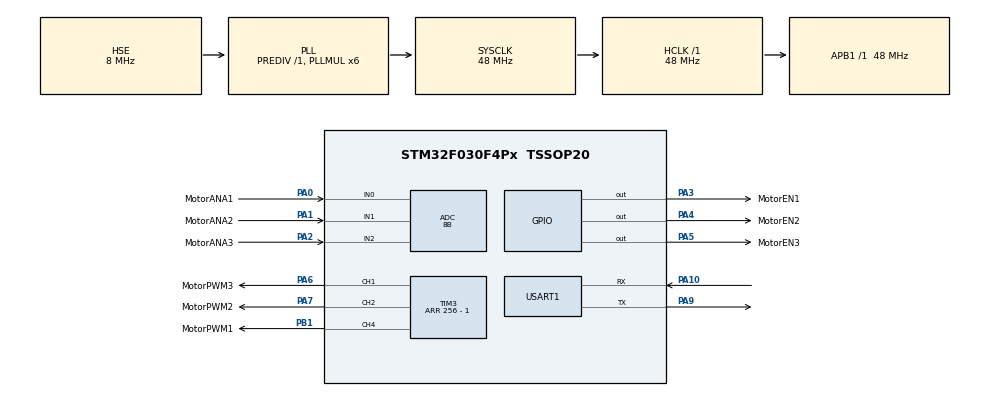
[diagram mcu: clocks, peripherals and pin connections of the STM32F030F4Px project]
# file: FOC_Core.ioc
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ADC.ContinuousConvMode=ENABLE
ADC.DMAContinuousRequests=ENABLE
ADC.EOCSelection=ADC_EOC_SINGLE_CONV
ADC.Overrun=ADC_OVR_DATA_PRESERVED
ADC.Resolution=ADC_RESOLUTION_8B
ADC.ScanConvMode=ADC_SCAN_DIRECTION_FORWARD
Dma.ADC.0.Direction=DMA_PERIPH_TO_MEMORY
Dma.ADC.0.Instance=DMA1_Channel1
Dma.ADC.0.MemDataAlignment=DMA_MDATAALIGN_BYTE
Dma.ADC.0.MemInc=DMA_MINC_ENABLE
Dma.ADC.0.Mode=DMA_CIRCULAR
Dma.ADC.0.PeriphDataAlignment=DMA_PDATAALIGN_BYTE
Dma.ADC.0.PeriphInc=DMA_PINC_DISABLE
Dma.ADC.0.Priority=DMA_PRIORITY_MEDIUM
Dma.Request0=ADC
Dma.Request1=USART1_TX
Dma.USART1_TX.1.Direction=DMA_MEMORY_TO_PERIPH
Dma.USART1_TX.1.Instance=DMA1_Channel2
Dma.USART1_TX.1.MemDataAlignment=DMA_MDATAALIGN_BYTE
Dma.USART1_TX.1.MemInc=DMA_MINC_ENABLE
Dma.USART1_TX.1.Mode=DMA_NORMAL
Dma.USART1_TX.1.PeriphDataAlignment=DMA_PDATAALIGN_BYTE
Dma.USART1_TX.1.PeriphInc=DMA_PINC_DISABLE
Dma.USART1_TX.1.Priority=DMA_PRIORITY_LOW
Mcu.Family=STM32F0
Mcu.Name=STM32F030F4Px
Mcu.Package=TSSOP20
NVIC.DMA1_Channel1_IRQn=true\:0\:0\:false\:false\:true\:false\:true
NVIC.DMA1_Channel2_3_IRQn=true\:0\:0\:false\:false\:true\:false\:true
NVIC.TIM14_IRQn=true\:0\:0\:false\:false\:true\:true\:true
PA0.GPIO_Label=MotorANA1
PA0.Mode=IN0
PA0.Signal=ADC_IN0
PA1.GPIO_Label=MotorANA2
PA1.Mode=IN1
PA1.Signal=ADC_IN1
PA10.Mode=Asynchronous
PA10.Signal=USART1_RX
PA13.Mode=Serial_Wire
PA13.Signal=SYS_SWDIO
PA14.Mode=Serial_Wire
PA14.Signal=SYS_SWCLK
PA2.GPIO_Label=MotorANA3
PA2.Mode=IN2
PA2.Signal=ADC_IN2
PA3.GPIO_Label=MotorEN1
PA3.GPIO_Speed=GPIO_SPEED_FREQ_LOW
PA3.PinState=GPIO_PIN_RESET
PA3.Signal=GPIO_Output
PA4.GPIO_Label=MotorEN2
PA4.GPIO_Speed=GPIO_SPEED_FREQ_LOW
PA4.PinState=GPIO_PIN_RESET
PA4.Signal=GPIO_Output
PA5.GPIO_Label=MotorEN3
PA5.GPIO_Speed=GPIO_SPEED_FREQ_LOW
PA5.PinState=GPIO_PIN_RESET
PA5.Signal=GPIO_Output
PA6.GPIO_Label=MotorPWM3
PA6.GPIO_ModeDefaultPP=GPIO_MODE_AF_PP
PA6.GPIO_PuPd=GPIO_NOPULL
PA6.GPIO_Speed=GPIO_SPEED_FREQ_LOW
PA6.Signal=S_TIM3_CH1
PA7.GPIO_Label=MotorPWM2
PA7.GPIO_ModeDefaultPP=GPIO_MODE_AF_PP
PA7.GPIO_PuPd=GPIO_NOPULL
PA7.GPIO_Speed=GPIO_SPEED_FREQ_LOW
PA7.Signal=S_TIM3_CH2
PA9.Mode=Asynchronous
PA9.Signal=USART1_TX
PB1.GPIO_Label=MotorPWM1
PB1.GPIO_ModeDefaultPP=GPIO_MODE_AF_PP
PB1.GPIO_PuPd=GPIO_NOPULL
PB1.GPIO_Speed=GPIO_SPEED_FREQ_LOW
PB1.Signal=S_TIM3_CH4
PF0-OSC_IN.Mode=HSE-External-Oscillator
PF0-OSC_IN.Signal=RCC_OSC_IN
PF1-OSC_OUT.Mode=HSE-External-Oscillator
PF1-OSC_OUT.Signal=RCC_OSC_OUT
ProjectManager.HeapSize=0x200
ProjectManager.StackSize=0x200
ProjectManager.TargetToolchain=Makefile
RCC.AHBFreq_Value=48000000
RCC.APB1Freq_Value=48000000
RCC.APB1TimFreq_Value=48000000
RCC.HCLKFreq_Value=48000000
RCC.I2c1ClockSelection=RCC_I2C1CLKSOURCE_SYSCLK
RCC.PLLMUL=RCC_PLL_MUL6
RCC.PLLSourceVirtual=RCC_PLLSOURCE_HSE
RCC.SYSCLKFreq_VALUE=48000000
RCC.SYSCLKSource=RCC_SYSCLKSOURCE_PLLCLK
SH.S_TIM3_CH1.0=TIM3_CH1,PWM Generation1 CH1
SH.S_TIM3_CH2.0=TIM3_CH2,PWM Generation2 CH2
SH.S_TIM3_CH4.0=TIM3_CH4,PWM Generation4 CH4
TIM14.Period=2048 - 1
TIM3.Channel-PWM\ Generation1\ CH1=TIM_CHANNEL_1
TIM3.Channel-PWM\ Generation2\ CH2=TIM_CHANNEL_2
TIM3.Channel-PWM\ Generation4\ CH4=TIM_CHANNEL_4
TIM3.Period=256 - 1
TIM3.Pulse-PWM\ Generation1\ CH1=256 - 1
TIM3.Pulse-PWM\ Generation2\ CH2=256 - 1
TIM3.Pulse-PWM\ Generation4\ CH4=256 - 1
USART1.Parity=PARITY_EVEN
USART1.StopBits=STOPBITS_2
USART1.VirtualMode-Asynchronous=VM_ASYNC
USART1.WordLength=WORDLENGTH_9B
VP_TIM14_VS_ClockSourceINT.Mode=Enable_Timer
VP_TIM3_VS_ClockSourceINT.Mode=Internal
board=custom

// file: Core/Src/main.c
/* USER CODE BEGIN Header */
/**
  ******************************************************************************
  * @file           : main.c
  * @brief          : Main program body
  ******************************************************************************
  * @attention
  *
  * Copyright (c) 2022 STMicroelectronics.
  * All rights reserved.
  *
  * This software is licensed under terms that can be found in the LICENSE file
  * in the root directory of this software component.
  * If no LICENSE file comes with this software, it is provided AS-IS.
  *
  ******************************************************************************
  */
/* USER CODE END Header */
#include "main.h"

/* USER CODE BEGIN PD */
#define ADC_DMA_SIZE 256 * 3 // HALF_COMPLETE = 128 * 2.5 Cycles
/* USER CODE END PD */

ADC_HandleTypeDef hadc;
DMA_HandleTypeDef hdma_adc;

TIM_HandleTypeDef htim3;
TIM_HandleTypeDef htim14;

UART_HandleTypeDef huart1;
DMA_HandleTypeDef hdma_usart1_tx;

/* USER CODE BEGIN PV */
uint8_t ADC_DMA_Buffer[ADC_DMA_SIZE];
/* USER CODE END PV */

void SystemClock_Config(void);
static void MX_GPIO_Init(void);
static void MX_ADC_Init(void);
static void MX_TIM3_Init(void);
static void MX_DMA_Init(void);
static void MX_TIM14_Init(void);
static void MX_USART1_UART_Init(void);

int main(void)
{

  /* MCU Configuration--------------------------------------------------------*/

  /* Reset of all peripherals, Initializes the Flash interface and the Systick. */
  HAL_Init();

  /* Configure the system clock */
  SystemClock_Config();

  /* Initialize all configured peripherals */
  MX_GPIO_Init();
  MX_ADC_Init();
  MX_TIM3_Init();
  MX_DMA_Init();
  MX_TIM14_Init();
  MX_USART1_UART_Init();
  /* USER CODE BEGIN 2 */
  // Start ADC  Sampling
  HAL_ADC_Start_DMA(&hadc, (uint32_t*) ADC_DMA_Buffer, ADC_DMA_SIZE);
  // Start DRV8313
  HAL_GPIO_WritePin(MotorEN1_GPIO_Port, MotorEN1_Pin, 1);
  HAL_GPIO_WritePin(MotorEN2_GPIO_Port, MotorEN2_Pin, 1);
  HAL_GPIO_WritePin(MotorEN3_GPIO_Port, MotorEN3_Pin, 1);
  HAL_TIM_PWM_Start(&htim3, TIM_CHANNEL_1);
  HAL_TIM_PWM_Start(&htim3, TIM_CHANNEL_2);
  HAL_TIM_PWM_Start(&htim3, TIM_CHANNEL_4);
  HAL_TIM_Base_Start_IT(&htim14);
  /* USER CODE END 2 */

  /* Infinite loop */
  while (1)
  {

  }
}

void SystemClock_Config(void)
{
  RCC_OscInitTypeDef RCC_OscInitStruct = {0};
  RCC_ClkInitTypeDef RCC_ClkInitStruct = {0};
  RCC_PeriphCLKInitTypeDef PeriphClkInit = {0};

  /** Initializes the RCC Oscillators according to the specified parameters
  * in the RCC_OscInitTypeDef structure.
  */
  RCC_OscInitStruct.OscillatorType = RCC_OSCILLATORTYPE_HSI14|RCC_OSCILLATORTYPE_HSE;
  RCC_OscInitStruct.HSEState = RCC_HSE_ON;
  RCC_OscInitStruct.HSI14State = RCC_HSI14_ON;
  RCC_OscInitStruct.HSI14CalibrationValue = 16;
  RCC_OscInitStruct.PLL.PLLState = RCC_PLL_ON;
  RCC_OscInitStruct.PLL.PLLSource = RCC_PLLSOURCE_HSE;
  RCC_OscInitStruct.PLL.PLLMUL = RCC_PLL_MUL6;
  RCC_OscInitStruct.PLL.PREDIV = RCC_PREDIV_DIV1;
  if (HAL_RCC_OscConfig(&RCC_OscInitStruct) != HAL_OK)
  {
    Error_Handler();
  }
  /** Initializes the CPU, AHB and APB buses clocks
  */
  RCC_ClkInitStruct.ClockType = RCC_CLOCKTYPE_HCLK|RCC_CLOCKTYPE_SYSCLK
                              |RCC_CLOCKTYPE_PCLK1;
  RCC_ClkInitStruct.SYSCLKSource = RCC_SYSCLKSOURCE_PLLCLK;
  RCC_ClkInitStruct.AHBCLKDivider = RCC_SYSCLK_DIV1;
  RCC_ClkInitStruct.APB1CLKDivider = RCC_HCLK_DIV1;

  if (HAL_RCC_ClockConfig(&RCC_ClkInitStruct, FLASH_LATENCY_1) != HAL_OK)
  {
    Error_Handler();
  }
  PeriphClkInit.PeriphClockSelection = RCC_PERIPHCLK_USART1;
  PeriphClkInit.Usart1ClockSelection = RCC_USART1CLKSOURCE_PCLK1;
  if (HAL_RCCEx_PeriphCLKConfig(&PeriphClkInit) != HAL_OK)
  {
    Error_Handler();
  }
}

static void MX_ADC_Init(void)
{

  ADC_ChannelConfTypeDef sConfig = {0};

  /** Configure the global features of the ADC (Clock, Resolution, Data Alignment and number of conversion)
  */
  hadc.Instance = ADC1;
  hadc.Init.ClockPrescaler = ADC_CLOCK_ASYNC_DIV1;
  hadc.Init.Resolution = ADC_RESOLUTION_8B;
  hadc.Init.DataAlign = ADC_DATAALIGN_RIGHT;
  hadc.Init.ScanConvMode = ADC_SCAN_DIRECTION_FORWARD;
  hadc.Init.EOCSelection = ADC_EOC_SINGLE_CONV;
  hadc.Init.LowPowerAutoWait = DISABLE;
  hadc.Init.LowPowerAutoPowerOff = DISABLE;
  hadc.Init.ContinuousConvMode = ENABLE;
  hadc.Init.DiscontinuousConvMode = DISABLE;
  hadc.Init.ExternalTrigConv = ADC_SOFTWARE_START;
  hadc.Init.ExternalTrigConvEdge = ADC_EXTERNALTRIGCONVEDGE_NONE;
  hadc.Init.DMAContinuousRequests = ENABLE;
  hadc.Init.Overrun = ADC_OVR_DATA_PRESERVED;
  if (HAL_ADC_Init(&hadc) != HAL_OK)
  {
    Error_Handler();
  }
  /** Configure for the selected ADC regular channel to be converted.
  */
  sConfig.Channel = ADC_CHANNEL_0;
  sConfig.Rank = ADC_RANK_CHANNEL_NUMBER;
  sConfig.SamplingTime = ADC_SAMPLETIME_1CYCLE_5;
  if (HAL_ADC_ConfigChannel(&hadc, &sConfig) != HAL_OK)
  {
    Error_Handler();
  }
  /** Configure for the selected ADC regular channel to be converted.
  */
  sConfig.Channel = ADC_CHANNEL_1;
  if (HAL_ADC_ConfigChannel(&hadc, &sConfig) != HAL_OK)
  {
    Error_Handler();
  }
  /** Configure for the selected ADC regular channel to be converted.
  */
  sConfig.Channel = ADC_CHANNEL_2;
  if (HAL_ADC_ConfigChannel(&hadc, &sConfig) != HAL_OK)
  {
    Error_Handler();
  }

}

static void MX_TIM3_Init(void)
{

  TIM_ClockConfigTypeDef sClockSourceConfig = {0};
  TIM_MasterConfigTypeDef sMasterConfig = {0};
  TIM_OC_InitTypeDef sConfigOC = {0};

  htim3.Instance = TIM3;
  htim3.Init.Prescaler = 0;
  htim3.Init.CounterMode = TIM_COUNTERMODE_UP;
  htim3.Init.Period = 256 - 1;
  htim3.Init.ClockDivision = TIM_CLOCKDIVISION_DIV1;
  htim3.Init.AutoReloadPreload = TIM_AUTORELOAD_PRELOAD_DISABLE;
  if (HAL_TIM_Base_Init(&htim3) != HAL_OK)
  {
    Error_Handler();
  }
  sClockSourceConfig.ClockSource = TIM_CLOCKSOURCE_INTERNAL;
  if (HAL_TIM_ConfigClockSource(&htim3, &sClockSourceConfig) != HAL_OK)
  {
    Error_Handler();
  }
  if (HAL_TIM_PWM_Init(&htim3) != HAL_OK)
  {
    Error_Handler();
  }
  sMasterConfig.MasterOutputTrigger = TIM_TRGO_RESET;
  sMasterConfig.MasterSlaveMode = TIM_MASTERSLAVEMODE_DISABLE;
  if (HAL_TIMEx_MasterConfigSynchronization(&htim3, &sMasterConfig) != HAL_OK)
  {
    Error_Handler();
  }
  sConfigOC.OCMode = TIM_OCMODE_PWM1;
  sConfigOC.Pulse = 256 - 1;
  sConfigOC.OCPolarity = TIM_OCPOLARITY_HIGH;
  sConfigOC.OCFastMode = TIM_OCFAST_DISABLE;
  if (HAL_TIM_PWM_ConfigChannel(&htim3, &sConfigOC, TIM_CHANNEL_1) != HAL_OK)
  {
    Error_Handler();
  }
  if (HAL_TIM_PWM_ConfigChannel(&htim3, &sConfigOC, TIM_CHANNEL_2) != HAL_OK)
  {
    Error_Handler();
  }
  if (HAL_TIM_PWM_ConfigChannel(&htim3, &sConfigOC, TIM_CHANNEL_4) != HAL_OK)
  {
    Error_Handler();
  }
  HAL_TIM_MspPostInit(&htim3);

}

static void MX_TIM14_Init(void)
{

  htim14.Instance = TIM14;
  htim14.Init.Prescaler = 0;
  htim14.Init.CounterMode = TIM_COUNTERMODE_UP;
  htim14.Init.Period = 2048 - 1;
  htim14.Init.ClockDivision = TIM_CLOCKDIVISION_DIV1;
  htim14.Init.AutoReloadPreload = TIM_AUTORELOAD_PRELOAD_DISABLE;
  if (HAL_TIM_Base_Init(&htim14) != HAL_OK)
  {
    Error_Handler();
  }

}

static void MX_USART1_UART_Init(void)
{

  huart1.Instance = USART1;
  huart1.Init.BaudRate = 38400;
  huart1.Init.WordLength = UART_WORDLENGTH_9B;
  huart1.Init.StopBits = UART_STOPBITS_2;
  huart1.Init.Parity = UART_PARITY_EVEN;
  huart1.Init.Mode = UART_MODE_TX_RX;
  huart1.Init.HwFlowCtl = UART_HWCONTROL_NONE;
  huart1.Init.OverSampling = UART_OVERSAMPLING_16;
  huart1.Init.OneBitSampling = UART_ONE_BIT_SAMPLE_DISABLE;
  huart1.AdvancedInit.AdvFeatureInit = UART_ADVFEATURE_NO_INIT;
  if (HAL_UART_Init(&huart1) != HAL_OK)
  {
    Error_Handler();
  }

}

static void MX_DMA_Init(void)
{

  /* DMA controller clock enable */
  __HAL_RCC_DMA1_CLK_ENABLE();

  /* DMA interrupt init */
  /* DMA1_Channel1_IRQn interrupt configuration */
  HAL_NVIC_SetPriority(DMA1_Channel1_IRQn, 0, 0);
  HAL_NVIC_EnableIRQ(DMA1_Channel1_IRQn);
  /* DMA1_Channel2_3_IRQn interrupt configuration */
  HAL_NVIC_SetPriority(DMA1_Channel2_3_IRQn, 0, 0);
  HAL_NVIC_EnableIRQ(DMA1_Channel2_3_IRQn);

}

static void MX_GPIO_Init(void)
{
  GPIO_InitTypeDef GPIO_InitStruct = {0};

  /* GPIO Ports Clock Enable */
  __HAL_RCC_GPIOF_CLK_ENABLE();
  __HAL_RCC_GPIOA_CLK_ENABLE();
  __HAL_RCC_GPIOB_CLK_ENABLE();

  /*Configure GPIO pin Output Level */
  HAL_GPIO_WritePin(GPIOA, MotorEN1_Pin|MotorEN2_Pin|MotorEN3_Pin, GPIO_PIN_RESET);

  /*Configure GPIO pins : MotorEN1_Pin MotorEN2_Pin MotorEN3_Pin */
  GPIO_InitStruct.Pin = MotorEN1_Pin|MotorEN2_Pin|MotorEN3_Pin;
  GPIO_InitStruct.Mode = GPIO_MODE_OUTPUT_PP;
  GPIO_InitStruct.Pull = GPIO_NOPULL;
  GPIO_InitStruct.Speed = GPIO_SPEED_FREQ_LOW;
  HAL_GPIO_Init(GPIOA, &GPIO_InitStruct);

}

/* USER CODE BEGIN 4 */
/**
 * @brief Get
 *
 * @param x uint8_t 0-63
 * @param throttle uint8_t 0 - 15
 * @return uint8_t
 */
uint8_t u8_sin(uint8_t x, uint8_t throttle)
{
    // Look Up Table
    static const uint8_t LUT[256] = {0x08, 0x07, 0x06, 0x06, 0x05, 0x04, 0x03, 0x03, 0x02, 0x02, 0x01, 0x01, 0x00, 0x00, 0x00, 0x00, 0x10, 0x0e, 0x0d, 0x0b, 0x09, 0x08, 0x07, 0x05, 0x04, 0x03, 0x02, 0x01, 0x01, 0x00, 0x00, 0x00, 0x18, 0x15, 0x13, 0x11, 0x0e, 0x0c, 0x0a, 0x08, 0x06, 0x05, 0x03, 0x02, 0x01, 0x01, 0x00, 0x00, 0x20, 0x1d, 0x19, 0x16, 0x13, 0x10, 0x0d, 0x0b, 0x08, 0x06, 0x04, 0x03, 0x02, 0x01, 0x00, 0x00, 0x28, 0x24, 0x20, 0x1c, 0x18, 0x14, 0x10, 0x0d, 0x0a, 0x08, 0x05, 0x03, 0x02, 0x01, 0x00, 0x00, 0x30, 0x2b, 0x26, 0x21, 0x1c, 0x18, 0x14, 0x10, 0x0c, 0x09, 0x06, 0x04, 0x02, 0x01, 0x00, 0x00, 0x38, 0x32, 0x2c, 0x27, 0x21, 0x1c, 0x17, 0x13, 0x0e, 0x0b, 0x08, 0x05, 0x03, 0x01, 0x00, 0x00, 0x40, 0x39, 0x33, 0x2c, 0x26, 0x20, 0x1a, 0x15, 0x10, 0x0c, 0x09, 0x06, 0x03, 0x01, 0x00, 0x00, 0x47, 0x40, 0x38, 0x31, 0x2a, 0x24, 0x1d, 0x17, 0x12, 0x0e, 0x0a, 0x06, 0x03, 0x02, 0x00, 0x00, 0x4f, 0x47, 0x3f, 0x37, 0x2f, 0x28, 0x21, 0x1a, 0x14, 0x0f, 0x0b, 0x07, 0x04, 0x02, 0x00, 0x00, 0x57, 0x4e, 0x45, 0x3c, 0x34, 0x2c, 0x24, 0x1d, 0x16, 0x11, 0x0c, 0x08, 0x04, 0x02, 0x00, 0x00, 0x5f, 0x55, 0x4b, 0x42, 0x38, 0x30, 0x27, 0x1f, 0x18, 0x12, 0x0d, 0x08, 0x05, 0x02, 0x01, 0x00, 0x67, 0x5c, 0x52, 0x47, 0x3d, 0x34, 0x2a, 0x22, 0x1a, 0x14, 0x0e, 0x09, 0x05, 0x02, 0x01, 0x00, 0x6f, 0x63, 0x58, 0x4d, 0x42, 0x38, 0x2e, 0x25, 0x1d, 0x15, 0x0f, 0x0a, 0x05, 0x02, 0x01, 0x00, 0x77, 0x6b, 0x5e, 0x52, 0x47, 0x3c, 0x31, 0x27, 0x1f, 0x17, 0x10, 0x0a, 0x06, 0x03, 0x01, 0x00, 0x7f, 0x72, 0x65, 0x58, 0x4b, 0x40, 0x34, 0x2a, 0x21, 0x18, 0x11, 0x0b, 0x06, 0x03, 0x01, 0x00};
    // Translate throttle into address offset
    throttle = (throttle << 4) & 0xf0;
    // Remove higher bits from x
    x &= 0b111111;
    // switch according to sign bits
    switch (x >> 4) {
        // 0 ~ 15 | Original output
        case 0b00:
            return LUT[throttle + x];
        // 16 ~ 31 | Flip x
        case 0b01:
            return LUT[throttle + 31 - x];
        // 32 ~ 47 | Flip y
        case 0b10:
            return (throttle + 0xf) - LUT[throttle + x - 32];
        // 48 ~ 63 | Flip x and y
        case 0b11:
            return (throttle + 0xf) - LUT[throttle + 63 - x];
    }
    return 0;
}

struct Motor {
	uint32_t* A;
	uint32_t* B;
	uint32_t* C;
} bldc_motor = {&(TIM3->CCR1), &(TIM3->CCR2), &(TIM3->CCR4)};

void driveMotor(struct Motor motor, uint8_t rotation, uint8_t throttle) {
	// Motor Phase Transfer
	*(motor.A) = u8_sin(rotation + 0, throttle);
	*(motor.B) = u8_sin(rotation + 21, throttle);
	*(motor.C) = u8_sin(rotation + 43, throttle);
  /* --------------------------------------- */
	// *(motor.A) = 0;
	// *(motor.A) = (rotation >> 7) ? 0 : 255;
	// *(motor.B) = 0;
	// *(motor.B) = (rotation >> 7) ? 0 : 255;
	// *(motor.C) = 0;
	// *(motor.C) = (rotation >> 7) ? 0 : 255;
}
void idleMotor(struct Motor motor) {
	// Motor Phase Transfer
	*(motor.A) = 0;
	*(motor.B) = 0;
	*(motor.C) = 0;
}
// Motor speed configuration
uint8_t rotation = 0;
uint16_t speed = 0, speed_acc = 0;
void HAL_TIM_PeriodElapsedCallback(TIM_HandleTypeDef *htim) {
  if (htim == &htim14) {
    // if (((++speed_acc) & 0xfff) == 0 && speed < 128) speed ++;
    // driveMotor(
    //     bldc_motor,
    //     (rotation += speed) >> 8,
    //     (speed / 24) + 6
    // );
    driveMotor(
        bldc_motor,
        rotation ++,
        0
    );
  }
}
/* USER CODE END 4 */

void Error_Handler(void)
{
  __disable_irq();
  while (1)
  {
  }
}
